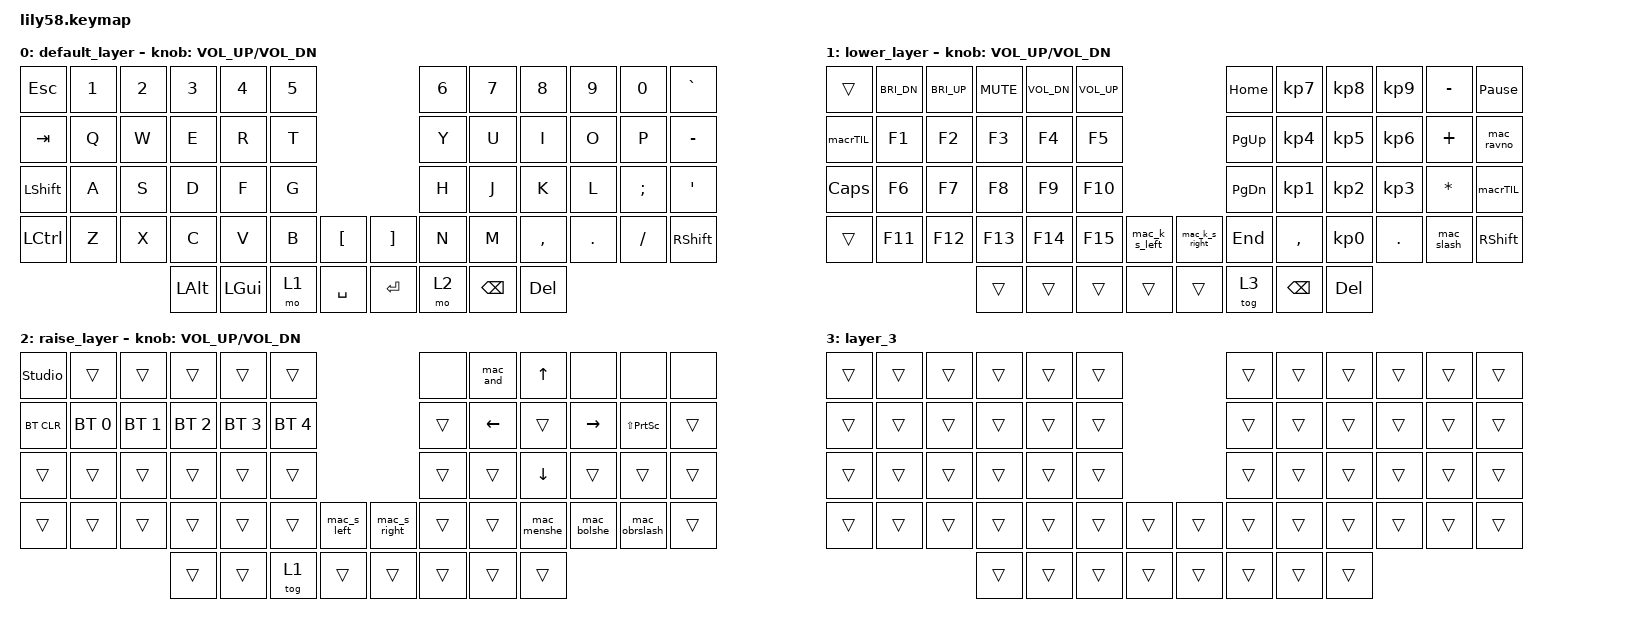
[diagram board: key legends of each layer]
/*
 * Copyright (c) 2020 The ZMK Contributors
 *
 * SPDX-License-Identifier: MIT
 */

#include <behaviors.dtsi>
#include <dt-bindings/zmk/bt.h>
#include <dt-bindings/zmk/keys.h>

/ {
    macros {
        macrTIL: macrTIL {
            compatible = "zmk,behavior-macro";
            wait-ms = <40>;
            tap-ms = <40>;
            bindings =
                <&macro_press>,
                <&kp LALT>,
                <&macro_tap>,
                <&kp KP_N0 &kp KP_N0 &kp KP_N3 &kp KP_N9>,
                <&macro_release>,
                <&kp LALT>;

            label = "macrTIL";
            #binding-cells = <0>;
        };

        mac_k_s_left: mac_k_s_left {
            compatible = "zmk,behavior-macro";
            wait-ms = <40>;
            tap-ms = <40>;
            bindings =
                <&macro_press>,
                <&kp LALT>,
                <&macro_tap>,
                <&kp KP_N0 &kp KP_N0 &kp KP_N9 &kp KP_N1>,
                <&macro_release>,
                <&kp LALT>;

            label = "mac_k_s_left";
            #binding-cells = <0>;
        };

        mac_k_s_right: mac_k_s_right {
            compatible = "zmk,behavior-macro";
            wait-ms = <40>;
            tap-ms = <40>;
            bindings =
                <&macro_press>,
                <&kp LALT>,
                <&macro_tap>,
                <&kp KP_N0 &kp KP_N0 &kp KP_N9 &kp KP_N3>,
                <&macro_release>,
                <&kp LALT>;

            label = "mac_k_s_right";
            #binding-cells = <0>;
        };

        mac_s_left: mac_s_left {
            compatible = "zmk,behavior-macro";
            wait-ms = <40>;
            tap-ms = <40>;
            bindings =
                <&macro_press>,
                <&kp LALT>,
                <&macro_tap>,
                <&kp KP_N0 &kp KP_N1 &kp KP_N2 &kp KP_N3>,
                <&macro_release>,
                <&kp LALT>;

            label = "mac_s_left";
            #binding-cells = <0>;
        };

        mac_s_right: mac_s_right {
            compatible = "zmk,behavior-macro";
            wait-ms = <40>;
            tap-ms = <40>;
            bindings =
                <&macro_press>,
                <&kp LALT>,
                <&macro_tap>,
                <&kp KP_N0 &kp KP_N1 &kp KP_N2 &kp KP_N5>,
                <&macro_release>,
                <&kp LALT>;

            label = "mac_s_right";
            #binding-cells = <0>;
        };

        mac_slash: mac_slash {
            compatible = "zmk,behavior-macro";
            wait-ms = <40>;
            tap-ms = <40>;
            bindings =
                <&macro_press>,
                <&kp LALT>,
                <&macro_tap>,
                <&kp KP_N0 &kp KP_N0 &kp KP_N4 &kp KP_N7>,
                <&macro_release>,
                <&kp LALT>;

            label = "mac_slash";
            #binding-cells = <0>;
        };

        mac_obrslash: mac_obrslash {
            compatible = "zmk,behavior-macro";
            wait-ms = <40>;
            tap-ms = <40>;
            bindings =
                <&macro_press>,
                <&kp LALT>,
                <&macro_tap>,
                <&kp KP_N0 &kp KP_N0 &kp KP_N9 &kp KP_N2>,
                <&macro_release>,
                <&kp LALT>;

            label = "mac_obrslash";
            #binding-cells = <0>;
        };

        mac_menshe: mac_menshe {
            compatible = "zmk,behavior-macro";
            wait-ms = <40>;
            tap-ms = <40>;
            bindings =
                <&macro_press>,
                <&kp LALT>,
                <&macro_tap>,
                <&kp KP_N0 &kp KP_N0 &kp KP_N6 &kp KP_N0>,
                <&macro_release>,
                <&kp LALT>;

            label = "mac_menshe";
            #binding-cells = <0>;
        };

        mac_bolshe: mac_bolshe {
            compatible = "zmk,behavior-macro";
            wait-ms = <40>;
            tap-ms = <40>;
            bindings =
                <&macro_press>,
                <&kp LALT>,
                <&macro_tap>,
                <&kp KP_N0 &kp KP_N0 &kp KP_N6 &kp KP_N2>,
                <&macro_release>,
                <&kp LALT>;

            label = "mac_bolshe";
            #binding-cells = <0>;
        };

        mac_and: mac_and {
            compatible = "zmk,behavior-macro";
            wait-ms = <40>;
            tap-ms = <40>;
            bindings =
                <&macro_press>,
                <&kp LALT>,
                <&macro_tap>,
                <&kp KP_N0 &kp KP_N0 &kp KP_N3 &kp KP_N8>,
                <&macro_release>,
                <&kp LALT>;

            label = "mac_and";
            #binding-cells = <0>;
        };

        mac_ravno: mac_ravno {
            compatible = "zmk,behavior-macro";
            wait-ms = <40>;
            tap-ms = <40>;
            bindings = <&kp SPACE &kp EQUAL &kp SPACE>;
            label = "mac_ravno";
            #binding-cells = <0>;
        };
    };

    keymap {
        compatible = "zmk,keymap";

        default_layer {
            // ------------------------------------------------------------------------------------------------------------
            // |  ESC  |  1  |  2  |  3   |  4   |  5   |                   |  6   |  7    |  8    |  9   |   0   |   `   |
            // |  TAB  |  Q  |  W  |  E   |  R   |  T   |                   |  Y   |  U    |  I    |  O   |   P   |   -   |
            // |  CTRL |  A  |  S  |  D   |  F   |  G   |                   |  H   |  J    |  K    |  L   |   ;   |   '   |
            // | SHIFT |  Z  |  X  |  C   |  V   |  B   |   "["  |  |  "]"  |  N   |  M    |  ,    |  .   |   /   | SHIFT |
            //                     | ALT  | GUI  | LOWER|  SPACE |  | ENTER | RAISE| BSPC  | GUI   |

            bindings = <
&kp ESC     &kp N1  &kp N2  &kp N3    &kp N4    &kp N5                         &kp N6  &kp N7    &kp N8     &kp N9   &kp N0    &kp GRAVE
&kp TAB     &kp Q   &kp W   &kp E     &kp R     &kp T                          &kp Y   &kp U     &kp I      &kp O    &kp P     &kp MINUS
&kp LSHIFT  &kp A   &kp S   &kp D     &kp F     &kp G                          &kp H   &kp J     &kp K      &kp L    &kp SEMI  &kp SQT
&kp LCTRL   &kp Z   &kp X   &kp C     &kp V     &kp B   &kp LBKT     &kp RBKT  &kp N   &kp M     &kp COMMA  &kp DOT  &kp FSLH  &kp RSHFT
                            &kp LALT  &kp LGUI  &mo 1   &kp SPACE    &kp RET   &mo 2   &kp BSPC  &kp DEL
            >;

            sensor-bindings = <&inc_dec_kp C_VOL_UP C_VOL_DN>;
        };

        lower_layer {
            // --------------------------------------------------------------------------------------------------------------
            // | LPAD  | BRDn | BRUp |  MUT |  Vo- |  Vo+ |                   |      |       |       |      |       |       |
            // |  F1   |  F2  |  F3  |  F4  |  F5  |  F6  |                   |  F7  |  F8   |  F9   |  F10 |  F11  |  F12  |
            // |   `   |  !   |  @   |  #   |  $   |  %   |                   |  ^   |  &    |  *    |  (   |   )   |   ~   |
            // |       |      |      |      |      |      |        |  |       |      |  _    |  +    |  {   |   }   |  "|"  |
            //                       |      |      |      |        |  |       |      |       |       |

            bindings = <
&trans    &kp C_BRI_DN  &kp C_BRI_UP  &kp C_MUTE  &kp C_VOL_DN  &kp C_VOL_UP                                   &kp HOME       &kp KP_N7      &kp KP_N8        &kp KP_N9        &kp MINUS   &kp PAUSE_BREAK
&macrTIL  &kp F1        &kp F2        &kp F3      &kp F4        &kp F5                                         &kp PAGE_UP    &kp KP_N4      &kp KP_N5        &kp KP_NUMBER_6  &kp PLUS    &mac_ravno
&kp CAPS  &kp F6        &kp F7        &kp F8      &kp F9        &kp F10                                        &kp PAGE_DOWN  &kp KP_N1      &kp KP_NUMBER_2  &kp KP_N3        &kp STAR    &macrTIL
&trans    &kp F11       &kp F12       &kp F13     &kp F14       &kp F15       &mac_k_s_left    &mac_k_s_right  &kp END        &kp COMMA      &kp KP_N0        &kp PERIOD       &mac_slash  &kp RIGHT_SHIFT
                                      &trans      &trans        &trans        &trans           &trans          &tog 3         &kp BACKSPACE  &kp DELETE
            >;

            sensor-bindings = <&inc_dec_kp C_VOL_UP C_VOL_DN>;
        };

        raise_layer {
            // ------------------------------------------------------------------------------------------------------------
            // |       |     |     |      |      |      |                   |      |       |       |      |       |       |
            // |   `   |  1  |  2  |  3   |  4   |  5   |                   |  6   |   7   |   8   |  9   |   0   |       |
            // |   F1  |  F2 |  F3 |  F4  |  F5  |  F6  |                   |      |   <-  |   v   |  ^   |  ->   |       |
            // |   F7  |  F8 |  F9 |  F10 |  F11 |  F12 |        |  |       |  +   |   -   |   =   |  [   |   ]   |   \   |
            //                     |      |      |      |        |  |       |      |       |       |

            bindings = <
&studio_unlock  &trans        &trans        &trans        &trans        &trans                                     &none   &mac_and        &kp UP_ARROW  &none            &none                &none
&bt BT_CLR      &bt BT_SEL 0  &bt BT_SEL 1  &bt BT_SEL 2  &bt BT_SEL 3  &bt BT_SEL 4                               &trans  &kp LEFT_ARROW  &trans        &kp RIGHT_ARROW  &kp LS(PRINTSCREEN)  &trans
&trans          &trans        &trans        &trans        &trans        &trans                                     &trans  &trans          &kp DOWN      &trans           &trans               &trans
&trans          &trans        &trans        &trans        &trans        &trans        &mac_s_left    &mac_s_right  &trans  &trans          &mac_menshe   &mac_bolshe      &mac_obrslash        &trans
                                            &trans        &trans        &tog 1        &trans         &trans        &trans  &trans          &trans
            >;

            sensor-bindings = <&inc_dec_kp C_VOL_UP C_VOL_DN>;
        };

        layer_3 {
            bindings = <
&trans  &trans  &trans  &trans  &trans  &trans                    &trans  &trans  &trans  &trans  &trans  &trans
&trans  &trans  &trans  &trans  &trans  &trans                    &trans  &trans  &trans  &trans  &trans  &trans
&trans  &trans  &trans  &trans  &trans  &trans                    &trans  &trans  &trans  &trans  &trans  &trans
&trans  &trans  &trans  &trans  &trans  &trans  &trans    &trans  &trans  &trans  &trans  &trans  &trans  &trans
                        &trans  &trans  &trans  &trans    &trans  &trans  &trans  &trans
            >;
        };
    };
};
